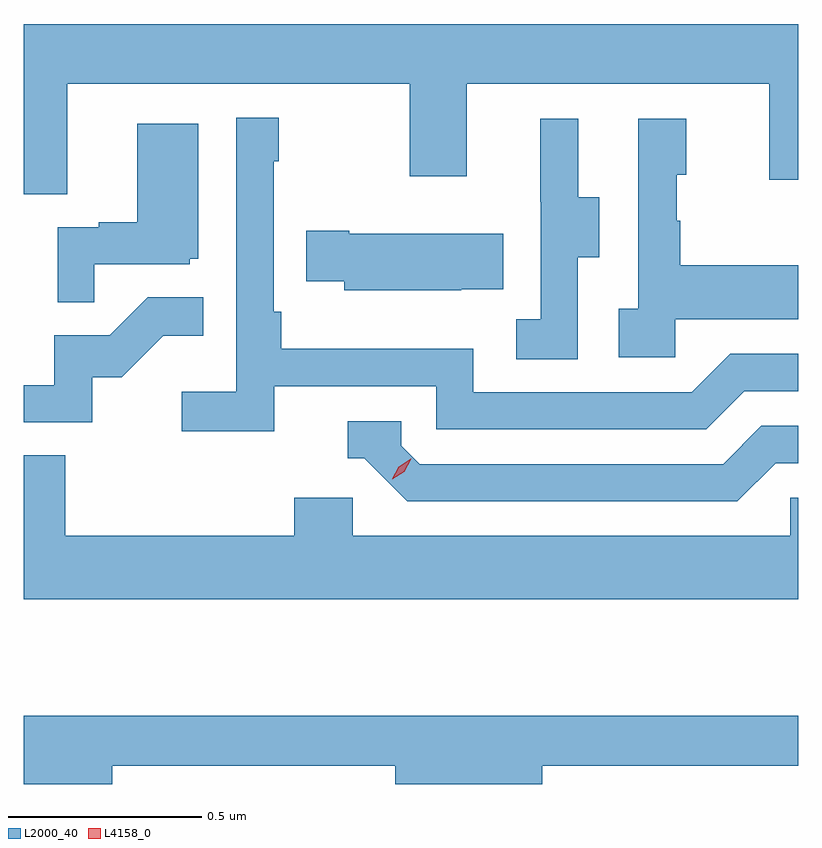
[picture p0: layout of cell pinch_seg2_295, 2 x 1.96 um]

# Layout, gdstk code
import gdstk
lib = gdstk.Library(unit=1e-6, precision=1e-09)
def P(c, l, *ps):  # polygons
    for p in ps: c.add(gdstk.Polygon(p, *l))
L2000_40 = (2000, 40)
L4158_0 = (4158, 0)

pinch_seg2_295 = lib.new_cell('pinch_seg2_295')
P(pinch_seg2_295, L2000_40, [(922.627,643.64),(923.512,643.64),(923.512,643.401),(923.659,643.401),(923.659,643.64),(924.44,643.64),(924.44,643.392),(924.515,643.392),(924.515,643.794),(922.515,643.794),(922.515,643.354),(922.627,643.354)],
  [(923.162,642.858),(923.58,642.858),(923.58,642.747),(924.277,642.747),(924.376,642.846),(924.515,642.846),(924.515,642.942),(924.339,642.942),(924.24,642.843),(923.676,642.843),(923.676,642.955),(923.18,642.955),(923.18,643.051),(923.16,643.051),(923.16,643.439),(923.173,643.439),(923.173,643.552),(923.064,643.552),(923.064,642.844),(922.923,642.844),(922.923,642.742),(923.162,642.742)],
  [(924.198,643.031),(924.515,643.031),(924.515,643.171),(924.211,643.171),(924.211,643.286),(924.201,643.286),(924.201,643.404),(924.226,643.404),(924.226,643.549),(924.102,643.549),(924.102,643.058),(924.051,643.058),(924.051,642.933),(924.198,642.933)],
  [(923.946,643.192),(924.001,643.192),(924.001,643.347),(923.947,643.347),(923.947,643.549),(923.849,643.549),(923.849,643.335),(923.85,643.335),(923.85,643.031),(923.787,643.031),(923.787,642.928),(923.946,642.928)],
  [(922.697,643.173),(922.944,643.173),(922.944,643.188),(922.966,643.188),(922.966,643.537),(922.808,643.537),(922.808,643.282),(922.709,643.282),(922.709,643.269),(922.602,643.269),(922.602,643.075),(922.697,643.075)],
  [(923.645,643.109),(923.753,643.109),(923.753,643.252),(923.356,643.252),(923.356,643.26),(923.245,643.26),(923.245,643.13),(923.343,643.13),(923.343,643.106),(923.645,643.106)],
  [(922.692,642.882),(922.768,642.882),(922.875,642.989),(922.979,642.989),(922.979,643.088),(922.835,643.088),(922.737,642.99),(922.593,642.99),(922.593,642.861),(922.515,642.861),(922.515,642.765),(922.692,642.765)],
  [(924.457,642.66),(924.515,642.66),(924.515,642.756),(924.42,642.756),(924.321,642.657),(923.538,642.657),(923.49,642.705),(923.49,642.768),(923.351,642.768),(923.351,642.672),(923.394,642.672),(923.505,642.561),(924.358,642.561)],
  [(924.515,642.57),(924.495,642.57),(924.495,642.472),(923.364,642.472),(923.364,642.57),(923.213,642.57),(923.213,642.472),(922.622,642.472),(922.622,642.68),(922.515,642.68),(922.515,642.308),(924.515,642.308)],
  [(922.744,641.878),(923.474,641.878),(923.474,641.831),(923.854,641.831),(923.854,641.878),(924.515,641.878),(924.515,642.007),(922.515,642.007),(922.515,641.831),(922.744,641.831)])
P(pinch_seg2_295, L4158_0, [(923.467,642.618),(923.467,642.619),(923.483,642.651),(923.514,642.671),(923.515,642.671),(923.515,642.671),(923.498,642.638),(923.467,642.618)])

lib.write_gds('pinch_seg2_295.gds')
